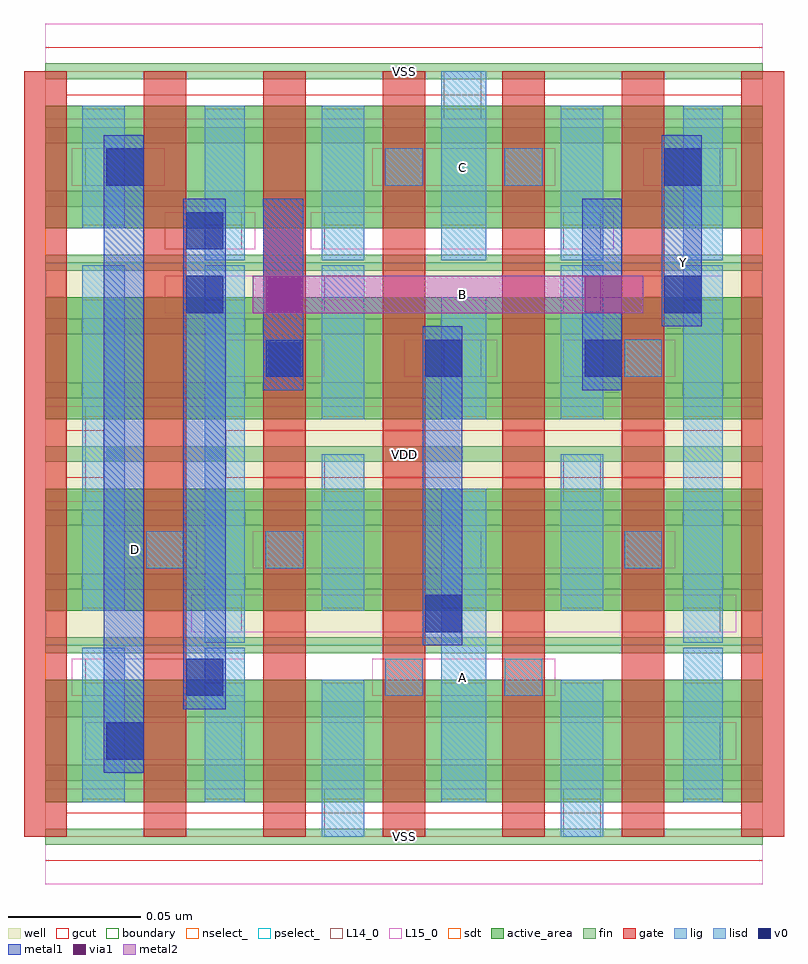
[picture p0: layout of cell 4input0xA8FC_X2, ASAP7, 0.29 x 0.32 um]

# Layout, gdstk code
import gdstk
lib = gdstk.Library(unit=1e-6, precision=1e-09)
def R(c, l, rs):  # rectangles x0, y0, x1, y1
    for r in rs: c.add(gdstk.rectangle(r[:2], r[2:], *l))
def A(c, l, x, y, w, h, nx, ny, dx, dy):  # array of equal rectangles
    R(c, l, [(x+i*dx, y+j*dy, x+i*dx+w, y+j*dy+h) for i in range(nx) for j in range(ny)])
def P(c, l, *ps):  # polygons
    for p in ps: c.add(gdstk.Polygon(p, *l))
well = (1, 0)
fin = (2, 0)
gate = (7, 0)
gcut = (10, 0)
active_area = (11, 0)
nselect_ = (12, 0)
pselect_ = (13, 0)
L14_0 = (14, 0)
L15_0 = (15, 0)
lig = (16, 0)
lisd = (17, 0)
v0 = (18, 0)
metal1 = (19, 0)
metal2 = (20, 0)
via1 = (21, 0)
sdt = (88, 0)
boundary = (100, 0)

c_4input0xa8fc_x2 = lib.new_cell('4input0xA8FC_X2')
R(c_4input0xa8fc_x2, well, [(0,0.072,0.27,0.144), (0,0.144,0.27,0.216)])
A(c_4input0xa8fc_x2, fin, 0, -0.003, 0.27, 0.006, 1, 13, 0, 0.024)
A(c_4input0xa8fc_x2, gate, -0.008, 0, 0.016, 0.288, 7, 1, 0.045, 0)
P(c_4input0xa8fc_x2, gcut, [(0,-0.009),(0,0),(-0.008,0),(-0.008,0.279),(0.008,0.279),(0.008,0.153),(0.022,0.153),(0.022,0.135),(0.008,0.135),(0.008,0.009),(0.262,0.009),(0.262,0.135),(0.068,0.135),(0.068,0.153),(0.262,0.153),(0.262,0.279),(-0.008,0.279),(-0.008,0.288),(0,0.288),(0,0.297),(0.27,0.297),(0.27,0.288),(0.278,0.288),(0.278,0),(0.27,0),(0.27,-0.009)])
A(c_4input0xa8fc_x2, active_area, 0, 0.013, 0.27, 0.046, 1, 4, 0, 0.072)
R(c_4input0xa8fc_x2, nselect_, [(0,0,0.27,0.072), (0,0.216,0.27,0.288)])
R(c_4input0xa8fc_x2, pselect_, [(0,0.072,0.27,0.144), (0,0.144,0.27,0.216)])
R(c_4input0xa8fc_x2, L14_0, [(0.105,0,0.12,0.018), (0.195,0,0.209,0.018), (0.06,0.029,0.074,0.043), (0.24,0.029,0.254,0.043), (0.015,0.053,0.03,0.067), (0.128,0.053,0.142,0.067), (0.173,0.053,0.187,0.067), (0.06,0.077,0.074,0.091), (0.24,0.077,0.254,0.091), (0.038,0.101,0.052,0.115), (0.083,0.101,0.097,0.115), (0.15,0.101,0.164,0.115), (0.218,0.101,0.232,0.115), (0.015,0.126,0.03,0.144), (0.105,0.126,0.12,0.144), (0.195,0.126,0.209,0.144), (0.015,0.144,0.03,0.162), (0.083,0.173,0.097,0.187), (0.15,0.173,0.164,0.187), (0.218,0.173,0.232,0.187), (0.105,0.197,0.12,0.211), (0.195,0.197,0.209,0.211), (0.06,0.221,0.074,0.235), (0.105,0.221,0.12,0.235), (0.195,0.221,0.209,0.235), (0.015,0.245,0.03,0.259), (0.128,0.245,0.142,0.259), (0.173,0.245,0.187,0.259), (0.24,0.245,0.254,0.259), (0.15,0.27,0.164,0.288)])
A(c_4input0xa8fc_x2, L15_0, 0, -0.018, 0.27, 0.036, 1, 3, 0, 0.144)
R(c_4input0xa8fc_x2, L15_0, [(0.015,0.029,0.26,0.043), (0.01,0.053,0.075,0.067), (0.123,0.053,0.192,0.067), (0.055,0.077,0.26,0.091), (0.022,0.101,0.057,0.115), (0.078,0.101,0.237,0.115), (0.068,0.173,0.105,0.187), (0.135,0.173,0.17,0.187), (0.195,0.173,0.237,0.187), (0.045,0.197,0.255,0.211), (0.045,0.221,0.079,0.235), (0.1,0.221,0.214,0.235), (0.01,0.245,0.045,0.259), (0.123,0.245,0.192,0.259), (0.225,0.245,0.26,0.259)])
R(c_4input0xa8fc_x2, lig, [(0.128,0.053,0.142,0.067), (0.173,0.053,0.187,0.067), (0.038,0.101,0.052,0.115), (0.083,0.101,0.097,0.115), (0.218,0.101,0.232,0.115), (0.083,0.173,0.097,0.187), (0.218,0.173,0.232,0.187), (0.128,0.245,0.142,0.259), (0.173,0.245,0.187,0.259)])
R(c_4input0xa8fc_x2, lisd, [(0.104,0,0.12,0.059), (0.194,0,0.21,0.059), (0.014,0.013,0.03,0.071), (0.06,0.013,0.075,0.071), (0.149,0.013,0.166,0.131), (0.24,0.013,0.255,0.071), (0.06,0.073,0.075,0.215), (0.24,0.073,0.255,0.215), (0.014,0.085,0.03,0.215), (0.104,0.085,0.12,0.144), (0.194,0.085,0.21,0.144), (0.104,0.157,0.12,0.215), (0.149,0.157,0.166,0.203), (0.194,0.157,0.21,0.215), (0.06,0.217,0.075,0.275), (0.104,0.217,0.12,0.275), (0.149,0.217,0.166,0.288), (0.194,0.217,0.21,0.275), (0.24,0.217,0.255,0.275), (0.014,0.229,0.03,0.275)])
A(c_4input0xa8fc_x2, v0, 0.083, 0.173, 0.014, 0.014, 3, 1, 0.06, 0)
R(c_4input0xa8fc_x2, v0, [(0.023,0.029,0.037,0.043), (0.053,0.053,0.067,0.067), (0.143,0.077,0.157,0.091), (0.053,0.197,0.067,0.211), (0.233,0.197,0.247,0.211), (0.053,0.221,0.067,0.235), (0.023,0.245,0.037,0.259), (0.233,0.245,0.247,0.259)])
R(c_4input0xa8fc_x2, metal1, [(0.022,0.024,0.037,0.264), (0.052,0.048,0.068,0.24), (0.142,0.072,0.157,0.192), (0.082,0.168,0.097,0.24), (0.202,0.168,0.217,0.24), (0.232,0.192,0.247,0.264)])
R(c_4input0xa8fc_x2, metal2, [(0.078,0.197,0.225,0.211)])
R(c_4input0xa8fc_x2, via1, [(0.083,0.197,0.097,0.211), (0.203,0.197,0.217,0.211)])
A(c_4input0xa8fc_x2, sdt, 0.014, 0.014, 0.016, 0.044, 3, 4, 0.09, 0.072)
A(c_4input0xa8fc_x2, sdt, 0.06, 0.014, 0.015, 0.044, 1, 4, 0, 0.072)
A(c_4input0xa8fc_x2, sdt, 0.149, 0.014, 0.017, 0.044, 1, 4, 0, 0.072)
A(c_4input0xa8fc_x2, sdt, 0.24, 0.014, 0.015, 0.044, 1, 4, 0, 0.072)
R(c_4input0xa8fc_x2, boundary, [(0,0,0.27,0.288)])
c_4input0xa8fc_x2.add(gdstk.Label('A', (0.157,0.06), layer=15, texttype=251))
c_4input0xa8fc_x2.add(gdstk.Label('VSS', (0.135,0), layer=15, texttype=251))
c_4input0xa8fc_x2.add(gdstk.Label('VDD', (0.135,0.144), layer=15, texttype=251))
c_4input0xa8fc_x2.add(gdstk.Label('VDD', (0.135,0.144), layer=15, texttype=251))
c_4input0xa8fc_x2.add(gdstk.Label('VSS', (0.135,0.288), layer=15, texttype=251))
c_4input0xa8fc_x2.add(gdstk.Label('VSS', (0.135,0), layer=15, texttype=251))
c_4input0xa8fc_x2.add(gdstk.Label('VDD', (0.135,0.144), layer=15, texttype=251))
c_4input0xa8fc_x2.add(gdstk.Label('VDD', (0.135,0.144), layer=15, texttype=251))
c_4input0xa8fc_x2.add(gdstk.Label('VSS', (0.135,0.288), layer=15, texttype=251))
c_4input0xa8fc_x2.add(gdstk.Label('VSS', (0.135,0), layer=15, texttype=251))
c_4input0xa8fc_x2.add(gdstk.Label('VDD', (0.135,0.144), layer=15, texttype=251))
c_4input0xa8fc_x2.add(gdstk.Label('VDD', (0.135,0.144), layer=15, texttype=251))
c_4input0xa8fc_x2.add(gdstk.Label('VSS', (0.135,0.288), layer=15, texttype=251))
c_4input0xa8fc_x2.add(gdstk.Label('C', (0.157,0.252), layer=15, texttype=251))
c_4input0xa8fc_x2.add(gdstk.Label('VSS', (0.135,0), layer=15, texttype=251))
c_4input0xa8fc_x2.add(gdstk.Label('VDD', (0.135,0.144), layer=15, texttype=251))
c_4input0xa8fc_x2.add(gdstk.Label('VDD', (0.135,0.144), layer=15, texttype=251))
c_4input0xa8fc_x2.add(gdstk.Label('VSS', (0.135,0.288), layer=15, texttype=251))
c_4input0xa8fc_x2.add(gdstk.Label('D', (0.034,0.108), layer=15, texttype=251))
c_4input0xa8fc_x2.add(gdstk.Label('VSS', (0.135,0), layer=15, texttype=251))
c_4input0xa8fc_x2.add(gdstk.Label('VDD', (0.135,0.144), layer=15, texttype=251))
c_4input0xa8fc_x2.add(gdstk.Label('VDD', (0.135,0.144), layer=15, texttype=251))
c_4input0xa8fc_x2.add(gdstk.Label('VSS', (0.135,0.288), layer=15, texttype=251))
c_4input0xa8fc_x2.add(gdstk.Label('VSS', (0.135,0), layer=3, texttype=251))
c_4input0xa8fc_x2.add(gdstk.Label('VSS', (0.135,0.288), layer=3, texttype=251))
c_4input0xa8fc_x2.add(gdstk.Label('VSS', (0.135,0), layer=3, texttype=251))
c_4input0xa8fc_x2.add(gdstk.Label('VSS', (0.135,0.288), layer=3, texttype=251))
c_4input0xa8fc_x2.add(gdstk.Label('VSS', (0.135,0), layer=3, texttype=251))
c_4input0xa8fc_x2.add(gdstk.Label('VSS', (0.135,0.288), layer=3, texttype=251))
c_4input0xa8fc_x2.add(gdstk.Label('VSS', (0.135,0), layer=3, texttype=251))
c_4input0xa8fc_x2.add(gdstk.Label('VSS', (0.135,0.288), layer=3, texttype=251))
c_4input0xa8fc_x2.add(gdstk.Label('VSS', (0.135,0), layer=3, texttype=251))
c_4input0xa8fc_x2.add(gdstk.Label('VSS', (0.135,0.288), layer=3, texttype=251))
c_4input0xa8fc_x2.add(gdstk.Label('VDD', (0.135,0.144), layer=1, texttype=251))
c_4input0xa8fc_x2.add(gdstk.Label('VDD', (0.135,0.144), layer=1, texttype=251))
c_4input0xa8fc_x2.add(gdstk.Label('VDD', (0.135,0.144), layer=1, texttype=251))
c_4input0xa8fc_x2.add(gdstk.Label('VDD', (0.135,0.144), layer=1, texttype=251))
c_4input0xa8fc_x2.add(gdstk.Label('VDD', (0.135,0.144), layer=1, texttype=251))
c_4input0xa8fc_x2.add(gdstk.Label('VDD', (0.135,0.144), layer=1, texttype=251))
c_4input0xa8fc_x2.add(gdstk.Label('VDD', (0.135,0.144), layer=1, texttype=251))
c_4input0xa8fc_x2.add(gdstk.Label('VDD', (0.135,0.144), layer=1, texttype=251))
c_4input0xa8fc_x2.add(gdstk.Label('VDD', (0.135,0.144), layer=1, texttype=251))
c_4input0xa8fc_x2.add(gdstk.Label('VDD', (0.135,0.144), layer=1, texttype=251))
c_4input0xa8fc_x2.add(gdstk.Label('B', (0.157,0.204), layer=20, texttype=251))
c_4input0xa8fc_x2.add(gdstk.Label('Y', (0.24,0.216), layer=19, texttype=251))

lib.write_gds('4input0xA8FC_X2.gds')
